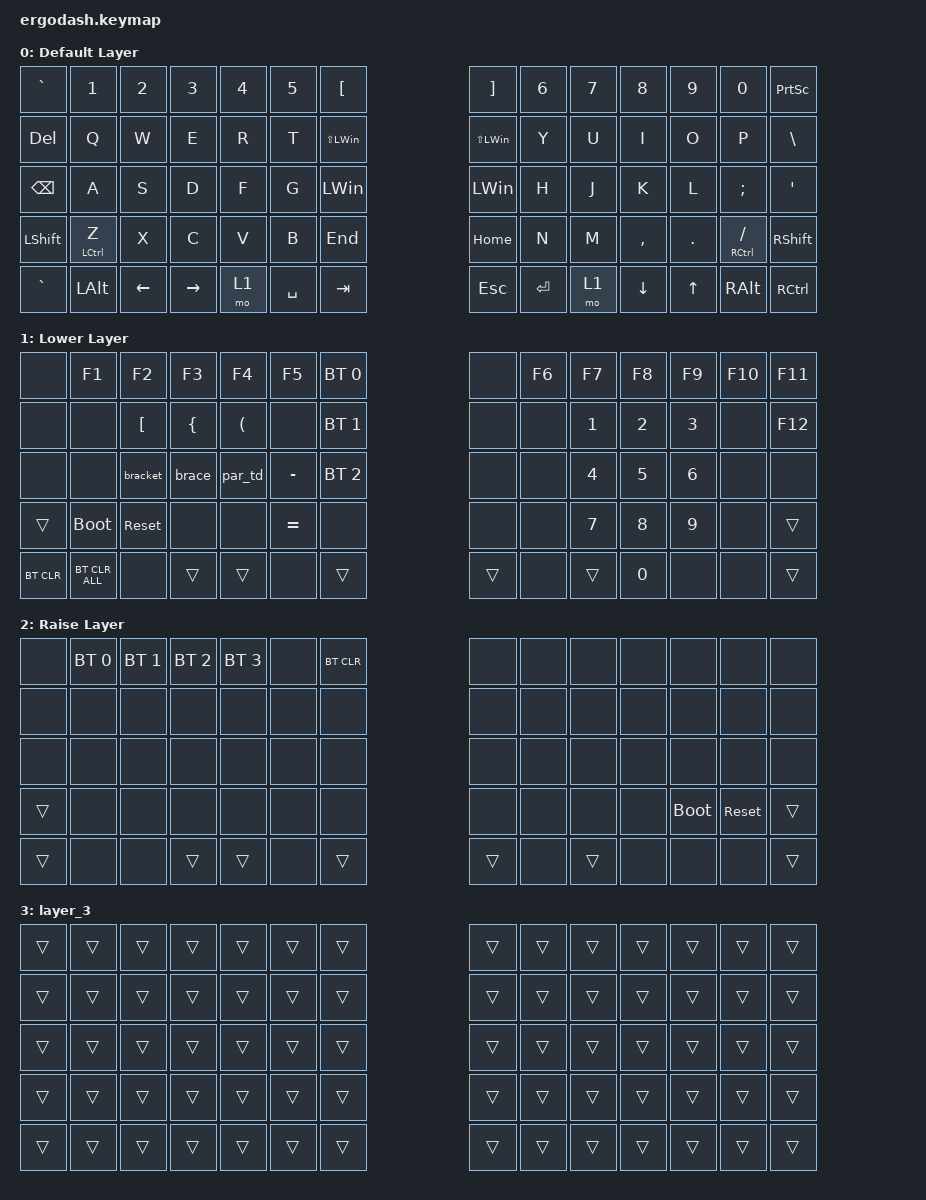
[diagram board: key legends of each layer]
/*
 * Copyright (c) 2020 The ZMK Contributors
 *
 * SPDX-License-Identifier: MIT
 */

#include <behaviors.dtsi>
#include <dt-bindings/zmk/bt.h>
#include <dt-bindings/zmk/keys.h>

#define DEFAULT 0
#define LOWER   1
#define RAISE   2

/ {
    behaviors {
        mt: mod_tap {
            compatible = "zmk,behavior-hold-tap";
            flavor = "tap-preferred";
            tapping-term-ms = <200>;
            bindings = <&kp>, <&kp>;

            display-name = "Mod-Tap";
        };
        par: par {
            compatible = "zmk,behavior-mod-morph";
            label = "PAR";
            bindings = <&kp LEFT_PARENTHESIS>, <&kp RIGHT_PARENTHESIS>;

            #binding-cells = <0>;
            mods = <(MOD_LSFT|MOD_RSFT)>;
        };
        par_td: par_td {
            compatible = "zmk,behavior-tap-dance";
            label = "PAR_TD";
            #binding-cells = <0>;
            bindings = <&kp LEFT_PARENTHESIS>, <&kp RIGHT_PARENTHESIS>;
        };
        brace: brace {
            compatible = "zmk,behavior-mod-morph";
            label = "brace";
            bindings = <&kp LEFT_BRACE>, <&kp RIGHT_BRACE>;

            #binding-cells = <0>;
            mods = <(MOD_LSFT|MOD_RSFT)>;
        };
        bracket: bracket {
            compatible = "zmk,behavior-mod-morph";
            label = "bracket";
            bindings = <&kp LEFT_BRACKET>, <&kp RIGHT_BRACKET>;

            #binding-cells = <0>;
            mods = <(MOD_LSFT|MOD_RSFT)>;
        };
    };

    keymap {
        compatible = "zmk,keymap";

        default_layer {
            display-name = "Default Layer";

            /* QWERTY
 * .----------------------------------------------------------------------------------------------------------------------.
 * |  `   |   1  |   2  |   3  |   4  |   5  |  [   |                    |  ]   |   6  |   7  |   8  |   9  |   0  | PScr |
 * |------+------+------+------+------+------+------+--------------------+------+------+------+------+------+------+------|
 * | ESC  |   Q  |   W  |   E  |   R  |   T  |  -   |                    |  =   |   Y  |   U  |   I  |   O  |   P  |  \   |
 * |------+------+------+------+------+------+------+--------------------+------+------+------+------+------+------+------|
 * | Tab  |   A  |   S  |   D  |   F  |   G  | Del  |                    | Bksp |   H  |   J  |   K  |   L  |   ;  |  '   |
 * |------+------+------+------+------+------+---------------------------+------+------+------+------+------+------+------|
 * | Shift|   Z  |   X  |   C  |   V  |   B  | End  |                    | Home |   N  |   M  |   ,  |   .  |   /  | Shift|
 * |-------------+------+------+------+------+------+------+------+------+------+------+------+------+------+-------------|
 * | Ctrl |      | PGDN | Win  |||||||| Alt  | Space| Lower|||||||| Raise| Enter| RAlt ||||||||      | PGUP | Ins  | RCtrl|
 * .----------------------------------------------------------------------------------------------------------------------.
 */

            bindings = <
&kp GRAVE      &kp N1        &kp N2    &kp N3           &kp N4  &kp N5  &kp LBKT                               &kp RBKT          &kp N6  &kp N7  &kp N8          &kp N9        &kp N0           &kp PSCRN
&kp DEL        &kp Q         &kp W     &kp E            &kp R   &kp T   &kp LS(LEFT_WIN)                       &kp LS(LEFT_WIN)  &kp Y   &kp U   &kp I           &kp O         &kp P            &kp BSLH
&kp BACKSPACE  &kp A         &kp S     &kp D            &kp F   &kp G   &kp LEFT_WIN                           &kp LEFT_WIN      &kp H   &kp J   &kp K           &kp L         &kp SEMI         &kp SQT
&kp LSHFT      &mt LCTRL Z   &kp X     &kp C            &kp V   &kp B                     &kp END  &kp HOME                      &kp N   &kp M   &kp COMMA       &kp DOT       &mt RCTRL SLASH  &kp RSHFT
&kp GRAVE      &kp LEFT_ALT  &kp LEFT  &kp RIGHT_ARROW  &mo 1           &kp SPACE         &kp TAB  &kp ESCAPE  &kp RET                   &mo 1   &kp DOWN_ARROW  &kp UP_ARROW  &kp RIGHT_ALT    &kp RCTRL
            >;
        };

        lower_layer {
            display-name = "Lower Layer";

            /* .----------------------------------------------------------------------------------------------------------------------.
 * |  F11 |  F1  |  F2  |  F3  |  F4  |  F5  |      |                    |      |  F6  |  F7  |  F8  |  F9  |  F10 |  F12 |
 * |------+------+------+------+------+------+------+--------------------+------+------+------+------+------+------+------|
 * |      |      |      |      |      |      |      |                    |      |      |      |      |      |      |      |
 * |------+------+------+------+------+------+------+--------------------+------+------+------+------+------+------+------|
 * |      |      |      |      |      |      |      |                    |      |      |      |      |      |      |      |
 * |------+------+------+------+------+------+---------------------------+------+------+------+------+------+------+------|
 * | Shift| Boot | Reset|      |      |      |      |                    |      |      |      |      |      |      | Shift|
 * |-------------+------+------+------+------+------+------+------+------+------+------+------+------+------+-------------|
 * | Ctlr |      |      |  Win |||||||| Alt  |      | Lower|||||||| Raise|      | RAlt ||||||||      |      |      | RCtrl|
 * .----------------------------------------------------------------------------------------------------------------------.
 */ /* FIXME boot and reset are not yet locale aware */
            bindings = <
&none       &kp F1          &kp F2             &kp F3           &kp F4                 &kp F5     &bt BT_SEL 0                  &none  &kp F6  &kp F7        &kp F8        &kp F9        &kp F10  &kp F11
&none       &none           &kp LEFT_BRACKET   &kp LEFT_BRACE   &kp LEFT_PARENTHESIS   &none      &bt BT_SEL 1                  &none  &none   &kp NUMBER_1  &kp NUMBER_2  &kp NUMBER_3  &none    &kp F12
&none       &none           &bracket           &brace           &par_td                &kp MINUS  &bt BT_SEL 2                  &none  &none   &kp NUMBER_4  &kp N5        &kp NUMBER_6  &none    &none
&trans      &bootloader     &sys_reset         &none            &none                  &kp EQUAL                &none   &none          &none   &kp N7        &kp N8        &kp N9        &none    &trans
&bt BT_CLR  &bt BT_CLR_ALL  &none              &trans           &trans                            &none         &trans  &trans  &none          &trans        &kp N0        &none         &none    &trans
            >;
        };

        raise_layer {
            display-name = "Raise Layer";

            /* .----------------------------------------------------------------------------------------------------------------------.
 * |      | BT 0 | BT 1 | BT 2 | BT 3 |      | BTCL |                    |      |      |      |      |      |      |      |
 * |------+------+------+------+------+------+------+--------------------+------+------+------+------+------+------+------|
 * |      |      |      |      |      |      |      |                    |      |      |      |      |      |      |      |
 * |------+------+------+------+------+------+------+--------------------+------+------+------+------+------+------+------|
 * |      |      |      |      |      |      |      |                    |      |      |      |      |      |      |      |
 * |------+------+------+------+------+------+---------------------------+------+------+------+------+------+------+------|
 * | Shift|      |      |      |      |      |      |                    |      |      |      |      | Boot | Reset| Shift|
 * |-------------+------+------+------+------+------+------+------+------+------+------+------+------+------+-------------|
 * | Ctlr |      |      |  Win |||||||| Alt  |      | Lower|||||||| Raise|      | RAlt ||||||||      |      |      | RCtrl|
 * .----------------------------------------------------------------------------------------------------------------------.
 */ /* FIXME boot and reset are not yet locale aware */
            bindings = <
&none   &bt BT_SEL 0  &bt BT_SEL 1  &bt BT_SEL 2  &bt BT_SEL 3  &none  &bt BT_CLR                  &none  &none  &none   &none  &none        &none       &none
&none   &none         &none         &none         &none         &none  &none                       &none  &none  &none   &none  &none        &none       &none
&none   &none         &none         &none         &none         &none  &none                       &none  &none  &none   &none  &none        &none       &none
&trans  &none         &none         &none         &none         &none              &none   &none          &none  &none   &none  &bootloader  &sys_reset  &trans
&trans  &none         &none         &trans        &trans               &none       &trans  &trans  &none         &trans  &none  &none        &none       &trans
            >;
        };

        layer_3 {
            bindings = <
&trans  &trans  &trans  &trans  &trans  &trans  &trans                  &trans  &trans  &trans  &trans  &trans  &trans  &trans
&trans  &trans  &trans  &trans  &trans  &trans  &trans                  &trans  &trans  &trans  &trans  &trans  &trans  &trans
&trans  &trans  &trans  &trans  &trans  &trans  &trans                  &trans  &trans  &trans  &trans  &trans  &trans  &trans
&trans  &trans  &trans  &trans  &trans  &trans          &trans  &trans          &trans  &trans  &trans  &trans  &trans  &trans
&trans  &trans  &trans  &trans  &trans          &trans  &trans  &trans  &trans          &trans  &trans  &trans  &trans  &trans
            >;
        };
    };
};
